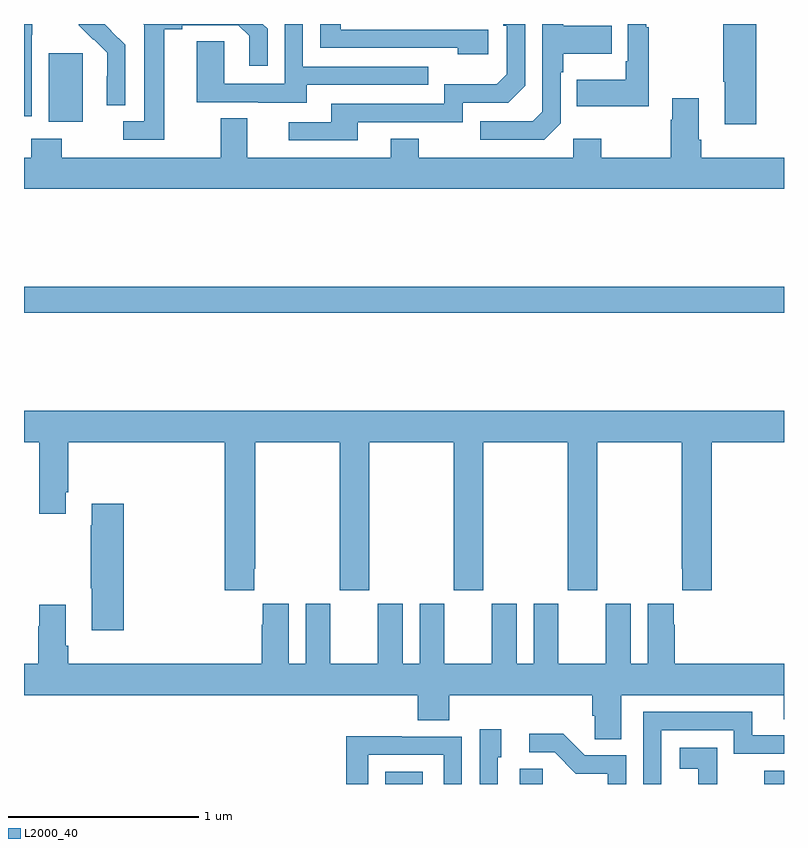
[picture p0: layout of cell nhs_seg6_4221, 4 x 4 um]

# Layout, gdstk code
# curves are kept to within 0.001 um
import gdstk
lib = gdstk.Library(unit=1e-6, precision=1e-09)
def R(c, l, rs):  # rectangles x0, y0, x1, y1
    for r in rs: c.add(gdstk.rectangle(r[:2], r[2:], *l))
def P(c, l, *ps):  # polygons
    for p in ps: c.add(gdstk.Polygon(p, *l))
L2000_40 = (2000, 40)

nhs_seg6_4221 = lib.new_cell('nhs_seg6_4221')
R(nhs_seg6_4221, L2000_40, [(360.902,981.5,361.099,981.565), (361.61,981.5,361.731,981.581), (362.896,981.5,363,981.57), (359,983.98,363,984.116), (359.129,984.986,359.308,985.347)])
P(nhs_seg6_4221, L2000_40, [(362.855,985.5),(362.68,985.5),(362.68,985.195),(362.687,985.195),(362.687,984.972),(362.855,984.972)],
  [(362.287,985.483),(362.275,985.483),(362.275,985.5),(362.178,985.5),(362.178,985.303),(362.166,985.303),(362.166,985.207),(361.909,985.207),(361.909,985.067),(362.287,985.067)],
  [(361.444,985.47),(360.667,985.47),(360.667,985.5),(360.558,985.5),(360.558,985.374),(361.283,985.374),(361.283,985.34),(361.444,985.34)],
  [(359.532,985.39),(359.424,985.5),(359.287,985.5),(359.287,985.493),(359.364,985.416),(359.367,985.419),(359.438,985.349),(359.438,985.226),(359.436,985.226),(359.436,985.072),(359.532,985.072)],
  [(359.04,985.444),(359.043,985.444),(359.043,985.5),(359,985.5),(359,985.015),(359.04,985.015)],
  [(360.487,985.179),(361.127,985.179),(361.127,985.275),(360.468,985.275),(360.468,985.5),(360.372,985.5),(360.372,985.185),(360.054,985.185),(360.054,985.409),(359.909,985.409),(359.909,985.089),(360.233,985.089),(360.233,985.085),(360.487,985.085)],
  [(360.757,984.984),(361.308,984.984),(361.308,985.086),(361.548,985.086),(361.638,985.176),(361.638,985.5),(361.522,985.5),(361.522,985.49),(361.542,985.49),(361.542,985.236),(361.489,985.183),(361.212,985.183),(361.212,985.08),(360.617,985.08),(360.617,984.984),(360.393,984.984),(360.393,984.888),(360.757,984.888)],
  [(359.737,985.472),(359.833,985.472),(359.833,985.494),(360.128,985.494),(360.185,985.437),(360.185,985.281),(360.282,985.281),(360.282,985.474),(360.256,985.5),(359.628,985.5),(359.633,985.495),(359.633,984.987),(359.523,984.987),(359.523,984.891),(359.737,984.891)],
  [(361.824,984.978),(361.824,985.247),(361.837,985.247),(361.837,985.343),(362.093,985.343),(362.093,985.491),(361.837,985.491),(361.837,985.5),(361.728,985.5),(361.728,985.038),(361.677,984.987),(361.401,984.987),(361.401,984.891),(361.737,984.891)],
  [(363,984.796),(362.564,984.796),(362.564,984.892),(362.551,984.892),(362.551,985.108),(362.411,985.108),(362.411,984.995),(362.404,984.995),(362.404,984.796),(362.037,984.796),(362.037,984.895),(361.89,984.895),(361.89,984.796),(361.077,984.796),(361.077,984.895),(360.929,984.895),(360.929,984.796),(360.175,984.796),(360.175,985.004),(360.035,985.004),(360.035,984.796),(359.199,984.796),(359.199,984.895),(359.039,984.895),(359.039,984.796),(359,984.796),(359,984.632),(363,984.632)],
  [(360.211,982.633),(360.216,982.633),(360.216,983.3),(360.661,983.3),(360.661,982.521),(360.816,982.521),(360.816,983.3),(361.261,983.3),(361.261,982.521),(361.416,982.521),(361.416,983.3),(361.861,983.3),(361.861,982.521),(362.016,982.521),(362.016,983.3),(362.461,983.3),(362.461,982.633),(362.465,982.633),(362.465,982.521),(362.621,982.521),(362.621,983.3),(363,983.3),(363,983.464),(359,983.464),(359,983.3),(359.081,983.3),(359.081,982.923),(359.221,982.923),(359.221,983.035),(359.234,983.035),(359.234,983.3),(360.056,983.3),(360.056,982.521),(360.211,982.521)],
  [(359.525,982.975),(359.357,982.975),(359.357,982.862),(359.35,982.862),(359.35,982.531),(359.357,982.531),(359.357,982.308),(359.525,982.308)],
  [(361.073,981.835),(361.238,981.835),(361.238,981.968),(361.991,981.968),(361.991,981.859),(362.004,981.859),(362.004,981.736),(362.143,981.736),(362.143,981.968),(362.999,981.968),(362.999,981.841),(363,981.841),(363,982.132),(362.426,982.132),(362.426,982.337),(362.419,982.337),(362.419,982.45),(362.282,982.45),(362.282,982.132),(362.194,982.132),(362.194,982.45),(362.063,982.45),(362.063,982.132),(361.813,982.132),(361.813,982.45),(361.682,982.45),(361.682,982.132),(361.594,982.132),(361.594,982.45),(361.463,982.45),(361.463,982.132),(361.213,982.132),(361.213,982.45),(361.082,982.45),(361.082,982.132),(360.994,982.132),(360.994,982.45),(360.863,982.45),(360.863,982.132),(360.613,982.132),(360.613,982.45),(360.482,982.45),(360.482,982.132),(360.394,982.132),(360.394,982.45),(360.257,982.45),(360.257,982.337),(360.251,982.337),(360.251,982.132),(359.234,982.132),(359.234,982.228),(359.221,982.228),(359.221,982.444),(359.081,982.444),(359.081,982.331),(359.074,982.331),(359.074,982.132),(359,982.132),(359,981.968),(361.073,981.968)],
  [(362.355,981.783),(362.736,981.783),(362.736,981.66),(363,981.66),(363,981.756),(362.833,981.756),(362.833,981.879),(362.259,981.879),(362.259,981.5),(362.355,981.5)],
  [(361.494,981.642),(361.513,981.642),(361.513,981.787),(361.398,981.787),(361.398,981.5),(361.494,981.5)],
  [(362.169,981.651),(361.95,981.651),(361.837,981.764),(361.659,981.764),(361.659,981.666),(361.793,981.666),(361.904,981.555),(362.073,981.555),(362.073,981.5),(362.169,981.5)],
  [(360.813,981.654),(361.209,981.654),(361.209,981.5),(361.305,981.5),(361.305,981.75),(360.989,981.75),(360.989,981.752),(360.697,981.752),(360.697,981.5),(360.813,981.5)],
  [(362.649,981.691),(362.451,981.691),(362.451,981.581),(362.549,981.581),(362.549,981.5),(362.649,981.5)])

lib.write_gds('nhs_seg6_4221.gds')
